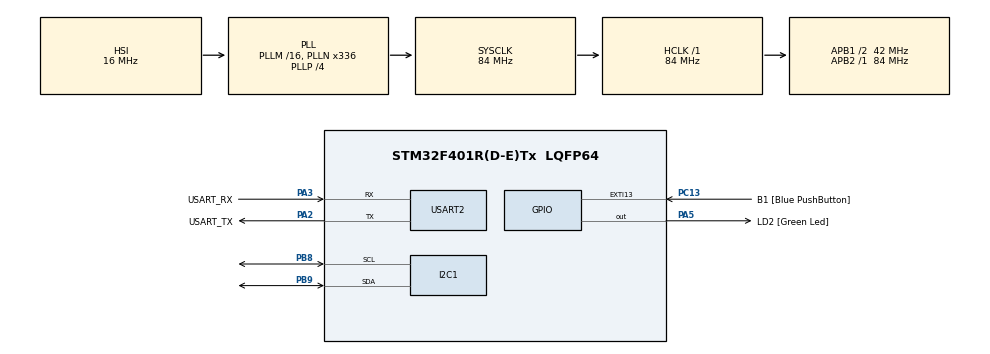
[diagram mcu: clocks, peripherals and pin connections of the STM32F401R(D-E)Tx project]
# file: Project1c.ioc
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Dma.I2C1_RX.0.Direction=DMA_PERIPH_TO_MEMORY
Dma.I2C1_RX.0.FIFOMode=DMA_FIFOMODE_DISABLE
Dma.I2C1_RX.0.Instance=DMA1_Stream0
Dma.I2C1_RX.0.MemDataAlignment=DMA_MDATAALIGN_BYTE
Dma.I2C1_RX.0.MemInc=DMA_MINC_ENABLE
Dma.I2C1_RX.0.Mode=DMA_NORMAL
Dma.I2C1_RX.0.PeriphDataAlignment=DMA_PDATAALIGN_BYTE
Dma.I2C1_RX.0.PeriphInc=DMA_PINC_DISABLE
Dma.I2C1_RX.0.Priority=DMA_PRIORITY_LOW
Dma.I2C1_TX.2.Direction=DMA_MEMORY_TO_PERIPH
Dma.I2C1_TX.2.FIFOMode=DMA_FIFOMODE_DISABLE
Dma.I2C1_TX.2.Instance=DMA1_Stream7
Dma.I2C1_TX.2.MemDataAlignment=DMA_MDATAALIGN_BYTE
Dma.I2C1_TX.2.MemInc=DMA_MINC_ENABLE
Dma.I2C1_TX.2.Mode=DMA_NORMAL
Dma.I2C1_TX.2.PeriphDataAlignment=DMA_PDATAALIGN_BYTE
Dma.I2C1_TX.2.PeriphInc=DMA_PINC_DISABLE
Dma.I2C1_TX.2.Priority=DMA_PRIORITY_LOW
Dma.Request0=I2C1_RX
Dma.Request1=USART2_TX
Dma.Request2=I2C1_TX
Dma.USART2_TX.1.Direction=DMA_MEMORY_TO_PERIPH
Dma.USART2_TX.1.FIFOMode=DMA_FIFOMODE_DISABLE
Dma.USART2_TX.1.Instance=DMA1_Stream6
Dma.USART2_TX.1.MemDataAlignment=DMA_MDATAALIGN_BYTE
Dma.USART2_TX.1.MemInc=DMA_MINC_ENABLE
Dma.USART2_TX.1.Mode=DMA_NORMAL
Dma.USART2_TX.1.PeriphDataAlignment=DMA_PDATAALIGN_BYTE
Dma.USART2_TX.1.PeriphInc=DMA_PINC_DISABLE
Dma.USART2_TX.1.Priority=DMA_PRIORITY_LOW
Mcu.Family=STM32F4
Mcu.Name=STM32F401R(D-E)Tx
Mcu.Package=LQFP64
NVIC.DMA1_Stream0_IRQn=true\:0\:0\:false\:false\:true\:false\:true\:true
NVIC.DMA1_Stream6_IRQn=true\:0\:0\:false\:false\:true\:false\:true\:true
NVIC.DMA1_Stream7_IRQn=true\:0\:0\:false\:false\:true\:false\:true\:true
NVIC.I2C1_EV_IRQn=true\:0\:0\:false\:false\:true\:true\:true\:true
NVIC.PriorityGroup=NVIC_PRIORITYGROUP_0
NVIC.TIM2_IRQn=true\:0\:0\:false\:false\:true\:true\:true\:true
NVIC.USART2_IRQn=true\:0\:0\:false\:false\:true\:true\:true\:true
PA13.GPIO_Label=TMS
PA13.Mode=Serial_Wire
PA13.Signal=SYS_JTMS-SWDIO
PA14.GPIO_Label=TCK
PA14.Mode=Serial_Wire
PA14.Signal=SYS_JTCK-SWCLK
PA2.GPIO_Label=USART_TX
PA2.GPIO_Mode=GPIO_MODE_AF_PP
PA2.GPIO_PuPd=GPIO_NOPULL
PA2.GPIO_Speed=GPIO_SPEED_FREQ_LOW
PA2.Mode=Asynchronous
PA2.Signal=USART2_TX
PA3.GPIO_Label=USART_RX
PA3.GPIO_Mode=GPIO_MODE_AF_PP
PA3.GPIO_PuPd=GPIO_NOPULL
PA3.GPIO_Speed=GPIO_SPEED_FREQ_LOW
PA3.Mode=Asynchronous
PA3.Signal=USART2_RX
PA5.GPIO_Label=LD2 [Green Led]
PA5.GPIO_Mode=GPIO_MODE_OUTPUT_PP
PA5.GPIO_PuPd=GPIO_NOPULL
PA5.GPIO_Speed=GPIO_SPEED_FREQ_LOW
PA5.Signal=GPIO_Output
PB3.GPIO_Label=SWO
PB3.Signal=SYS_JTDO-SWO
PB8.Mode=I2C
PB8.Signal=I2C1_SCL
PB9.Mode=I2C
PB9.Signal=I2C1_SDA
PC13-ANTI_TAMP.GPIO_Label=B1 [Blue PushButton]
PC13-ANTI_TAMP.GPIO_ModeDefaultEXTI=GPIO_MODE_IT_FALLING
PC13-ANTI_TAMP.GPIO_PuPd=GPIO_NOPULL
PC13-ANTI_TAMP.Signal=GPXTI13
PC14-OSC32_IN.Mode=LSE-External-Oscillator
PC14-OSC32_IN.Signal=RCC_OSC32_IN
PC15-OSC32_OUT.Mode=LSE-External-Oscillator
PC15-OSC32_OUT.Signal=RCC_OSC32_OUT
PH0\ -\ OSC_IN.Mode=HSE-External-Clock-Source
PH0\ -\ OSC_IN.Signal=RCC_OSC_IN
PH1\ -\ OSC_OUT.Mode=HSE-External-Clock-Source
PH1\ -\ OSC_OUT.Signal=RCC_OSC_OUT
ProjectManager.HeapSize=0x200
ProjectManager.StackSize=0x400
ProjectManager.TargetToolchain=STM32CubeIDE
RCC.48MHZClocksFreq_Value=48000000
RCC.AHBFreq_Value=84000000
RCC.APB1CLKDivider=RCC_HCLK_DIV2
RCC.APB1Freq_Value=42000000
RCC.APB1TimFreq_Value=84000000
RCC.APB2Freq_Value=84000000
RCC.APB2TimFreq_Value=84000000
RCC.CortexFreq_Value=84000000
RCC.HCLKFreq_Value=84000000
RCC.HSE_VALUE=8000000
RCC.HSI_VALUE=16000000
RCC.PLLN=336
RCC.PLLP=RCC_PLLP_DIV4
RCC.PLLQ=7
RCC.SYSCLKFreq_VALUE=84000000
RCC.SYSCLKSource=RCC_SYSCLKSOURCE_PLLCLK
RCC.VCOOutputFreq_Value=336000000
TIM2.Period=9999
TIM2.Prescaler=8399
USART2.VirtualMode=VM_ASYNC
VP_TIM2_VS_ClockSourceINT.Mode=Internal
board=NUCLEO-F401RE

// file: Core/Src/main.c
/* USER CODE BEGIN Header */
/**
  ******************************************************************************
  * @file           : main.c
  * @brief          : Main program body
  ******************************************************************************
  * @attention
  *
  * Copyright (c) 2023 STMicroelectronics.
  * All rights reserved.
  *
  * This software is licensed under terms that can be found in the LICENSE file
  * in the root directory of this software component.
  * If no LICENSE file comes with this software, it is provided AS-IS.
  *
  ******************************************************************************
  */
/* USER CODE END Header */
#include "main.h"

/* USER CODE BEGIN Includes */
#include <stdio.h>
/* USER CODE END Includes */

I2C_HandleTypeDef hi2c1;
DMA_HandleTypeDef hdma_i2c1_rx;
DMA_HandleTypeDef hdma_i2c1_tx;

TIM_HandleTypeDef htim2;

UART_HandleTypeDef huart2;
DMA_HandleTypeDef hdma_usart2_tx;

/* USER CODE BEGIN PV */

//LIS2DE
uint8_t ACCEL_ADD = 0b01010000;

//LIS2DE12
uint8_t LIS2DE12_ADD = 0b00110000;

//reg address, 1Hz + XYZ enabled
uint8_t CTRL_REG1[] = {0x20,0b00010111};

//reg address, no HPF (default value at startup)
uint8_t CTRL_REG2[] = {0x21,0x00};

//reg address, continuous update + 2g FSR + self test disabled (default value at startup)
uint8_t CTRL_REG4[] = {0x23,0x00};

//addresses of the axis acceleration registers
uint8_t OUT_X_ADD = 0x29;
uint8_t OUT_Y_ADD = 0x2B;
uint8_t OUT_Z_ADD = 0x2D;
uint8_t Autoincrement_Address = 0x29 | 0x80;

char str[64];
int len = 0;

volatile int8_t datas[6];
volatile float acc_g_x = 0;
volatile float acc_g_y = 0;
volatile float acc_g_z = 0;

/* USER CODE END PV */

void SystemClock_Config(void);
static void MX_GPIO_Init(void);
static void MX_DMA_Init(void);
static void MX_USART2_UART_Init(void);
static void MX_I2C1_Init(void);
static void MX_TIM2_Init(void);

/* USER CODE BEGIN 0 */
void HAL_TIM_PeriodElapsedCallback(TIM_HandleTypeDef *htim){
	if(HAL_I2C_Master_Transmit_DMA(&hi2c1,ACCEL_ADD,&Autoincrement_Address,1) != HAL_OK){
			Error_Handler();
	}
	/*
	if(HAL_I2C_Master_Receive_DMA(&hi2c1,ACCEL_ADD+1,datas,6) != HAL_OK){
			Error_Handler();
	}
	*/
}
void HAL_I2C_MasterTxCpltCallback(I2C_HandleTypeDef *hi2c){
	if(HAL_I2C_Master_Receive_DMA(&hi2c1,ACCEL_ADD+1,datas,6) != HAL_OK){
			Error_Handler();
	}
}
void HAL_I2C_MasterRxCpltCallback(I2C_HandleTypeDef *hi2c){
	acc_g_x = datas[0]/63.0;
	acc_g_y = datas[2]/63.0;
	acc_g_z = datas[4]/63.0;

	len = snprintf(str,sizeof(str),"X: %+.2f g\r\nY: %+.2f g\r\nZ: %+.2f g\r\n\r\n",acc_g_x,acc_g_y,acc_g_z);
	HAL_UART_Transmit_DMA(&huart2,str,len);

}
/* USER CODE END 0 */

int main(void)
{

  /* MCU Configuration--------------------------------------------------------*/

  /* Reset of all peripherals, Initializes the Flash interface and the Systick. */
  HAL_Init();

  /* Configure the system clock */
  SystemClock_Config();

  /* Initialize all configured peripherals */
  MX_GPIO_Init();
  MX_DMA_Init();
  MX_USART2_UART_Init();
  MX_I2C1_Init();
  MX_TIM2_Init();
  /* USER CODE BEGIN 2 */
  //Initialize accelerometer
  if(HAL_I2C_Master_Transmit(&hi2c1,ACCEL_ADD,CTRL_REG1,sizeof(CTRL_REG1),50) == HAL_OK){
    len = snprintf(str,sizeof(str),"LIS2DE found\r\n");
  }
  else{
    	 ACCEL_ADD = LIS2DE12_ADD;
  if(HAL_I2C_Master_Transmit(&hi2c1,ACCEL_ADD,CTRL_REG1,sizeof(CTRL_REG1),50) == HAL_OK){
    	len = snprintf(str,sizeof(str),"LIS2DE12 found\r\n");
       }
  else{
    	len = snprintf(str,sizeof(str),"Accelerometer error\r\n");
      }
  }
  HAL_UART_Transmit_DMA(&huart2,str,len);
  HAL_I2C_Master_Transmit(&hi2c1,ACCEL_ADD,CTRL_REG2,sizeof(CTRL_REG2),50);
  HAL_I2C_Master_Transmit(&hi2c1,ACCEL_ADD,CTRL_REG4,sizeof(CTRL_REG4),50);
  HAL_TIM_Base_Start_IT(&htim2);
  /* USER CODE END 2 */

  /* Infinite loop */
  while (1)
  {

  }
}

void SystemClock_Config(void)
{
  RCC_OscInitTypeDef RCC_OscInitStruct = {0};
  RCC_ClkInitTypeDef RCC_ClkInitStruct = {0};

  /** Configure the main internal regulator output voltage
  */
  __HAL_RCC_PWR_CLK_ENABLE();
  __HAL_PWR_VOLTAGESCALING_CONFIG(PWR_REGULATOR_VOLTAGE_SCALE2);

  /** Initializes the RCC Oscillators according to the specified parameters
  * in the RCC_OscInitTypeDef structure.
  */
  RCC_OscInitStruct.OscillatorType = RCC_OSCILLATORTYPE_HSI;
  RCC_OscInitStruct.HSIState = RCC_HSI_ON;
  RCC_OscInitStruct.HSICalibrationValue = RCC_HSICALIBRATION_DEFAULT;
  RCC_OscInitStruct.PLL.PLLState = RCC_PLL_ON;
  RCC_OscInitStruct.PLL.PLLSource = RCC_PLLSOURCE_HSI;
  RCC_OscInitStruct.PLL.PLLM = 16;
  RCC_OscInitStruct.PLL.PLLN = 336;
  RCC_OscInitStruct.PLL.PLLP = RCC_PLLP_DIV4;
  RCC_OscInitStruct.PLL.PLLQ = 7;
  if (HAL_RCC_OscConfig(&RCC_OscInitStruct) != HAL_OK)
  {
    Error_Handler();
  }

  /** Initializes the CPU, AHB and APB buses clocks
  */
  RCC_ClkInitStruct.ClockType = RCC_CLOCKTYPE_HCLK|RCC_CLOCKTYPE_SYSCLK
                              |RCC_CLOCKTYPE_PCLK1|RCC_CLOCKTYPE_PCLK2;
  RCC_ClkInitStruct.SYSCLKSource = RCC_SYSCLKSOURCE_PLLCLK;
  RCC_ClkInitStruct.AHBCLKDivider = RCC_SYSCLK_DIV1;
  RCC_ClkInitStruct.APB1CLKDivider = RCC_HCLK_DIV2;
  RCC_ClkInitStruct.APB2CLKDivider = RCC_HCLK_DIV1;

  if (HAL_RCC_ClockConfig(&RCC_ClkInitStruct, FLASH_LATENCY_2) != HAL_OK)
  {
    Error_Handler();
  }
}

static void MX_I2C1_Init(void)
{

  hi2c1.Instance = I2C1;
  hi2c1.Init.ClockSpeed = 100000;
  hi2c1.Init.DutyCycle = I2C_DUTYCYCLE_2;
  hi2c1.Init.OwnAddress1 = 0;
  hi2c1.Init.AddressingMode = I2C_ADDRESSINGMODE_7BIT;
  hi2c1.Init.DualAddressMode = I2C_DUALADDRESS_DISABLE;
  hi2c1.Init.OwnAddress2 = 0;
  hi2c1.Init.GeneralCallMode = I2C_GENERALCALL_DISABLE;
  hi2c1.Init.NoStretchMode = I2C_NOSTRETCH_DISABLE;
  if (HAL_I2C_Init(&hi2c1) != HAL_OK)
  {
    Error_Handler();
  }

}

static void MX_TIM2_Init(void)
{

  TIM_ClockConfigTypeDef sClockSourceConfig = {0};
  TIM_MasterConfigTypeDef sMasterConfig = {0};

  htim2.Instance = TIM2;
  htim2.Init.Prescaler = 8399;
  htim2.Init.CounterMode = TIM_COUNTERMODE_UP;
  htim2.Init.Period = 9999;
  htim2.Init.ClockDivision = TIM_CLOCKDIVISION_DIV1;
  htim2.Init.AutoReloadPreload = TIM_AUTORELOAD_PRELOAD_DISABLE;
  if (HAL_TIM_Base_Init(&htim2) != HAL_OK)
  {
    Error_Handler();
  }
  sClockSourceConfig.ClockSource = TIM_CLOCKSOURCE_INTERNAL;
  if (HAL_TIM_ConfigClockSource(&htim2, &sClockSourceConfig) != HAL_OK)
  {
    Error_Handler();
  }
  sMasterConfig.MasterOutputTrigger = TIM_TRGO_RESET;
  sMasterConfig.MasterSlaveMode = TIM_MASTERSLAVEMODE_DISABLE;
  if (HAL_TIMEx_MasterConfigSynchronization(&htim2, &sMasterConfig) != HAL_OK)
  {
    Error_Handler();
  }

}

static void MX_USART2_UART_Init(void)
{

  huart2.Instance = USART2;
  huart2.Init.BaudRate = 115200;
  huart2.Init.WordLength = UART_WORDLENGTH_8B;
  huart2.Init.StopBits = UART_STOPBITS_1;
  huart2.Init.Parity = UART_PARITY_NONE;
  huart2.Init.Mode = UART_MODE_TX_RX;
  huart2.Init.HwFlowCtl = UART_HWCONTROL_NONE;
  huart2.Init.OverSampling = UART_OVERSAMPLING_16;
  if (HAL_UART_Init(&huart2) != HAL_OK)
  {
    Error_Handler();
  }

}

static void MX_DMA_Init(void)
{

  /* DMA controller clock enable */
  __HAL_RCC_DMA1_CLK_ENABLE();

  /* DMA interrupt init */
  /* DMA1_Stream0_IRQn interrupt configuration */
  HAL_NVIC_SetPriority(DMA1_Stream0_IRQn, 0, 0);
  HAL_NVIC_EnableIRQ(DMA1_Stream0_IRQn);
  /* DMA1_Stream6_IRQn interrupt configuration */
  HAL_NVIC_SetPriority(DMA1_Stream6_IRQn, 0, 0);
  HAL_NVIC_EnableIRQ(DMA1_Stream6_IRQn);
  /* DMA1_Stream7_IRQn interrupt configuration */
  HAL_NVIC_SetPriority(DMA1_Stream7_IRQn, 0, 0);
  HAL_NVIC_EnableIRQ(DMA1_Stream7_IRQn);

}

static void MX_GPIO_Init(void)
{
  GPIO_InitTypeDef GPIO_InitStruct = {0};

  /* GPIO Ports Clock Enable */
  __HAL_RCC_GPIOC_CLK_ENABLE();
  __HAL_RCC_GPIOH_CLK_ENABLE();
  __HAL_RCC_GPIOA_CLK_ENABLE();
  __HAL_RCC_GPIOB_CLK_ENABLE();

  /*Configure GPIO pin Output Level */
  HAL_GPIO_WritePin(LD2_GPIO_Port, LD2_Pin, GPIO_PIN_RESET);

  /*Configure GPIO pin : B1_Pin */
  GPIO_InitStruct.Pin = B1_Pin;
  GPIO_InitStruct.Mode = GPIO_MODE_IT_FALLING;
  GPIO_InitStruct.Pull = GPIO_NOPULL;
  HAL_GPIO_Init(B1_GPIO_Port, &GPIO_InitStruct);

  /*Configure GPIO pin : LD2_Pin */
  GPIO_InitStruct.Pin = LD2_Pin;
  GPIO_InitStruct.Mode = GPIO_MODE_OUTPUT_PP;
  GPIO_InitStruct.Pull = GPIO_NOPULL;
  GPIO_InitStruct.Speed = GPIO_SPEED_FREQ_LOW;
  HAL_GPIO_Init(LD2_GPIO_Port, &GPIO_InitStruct);

}

void Error_Handler(void)
{
  __disable_irq();
  while (1)
  {
  }
}
